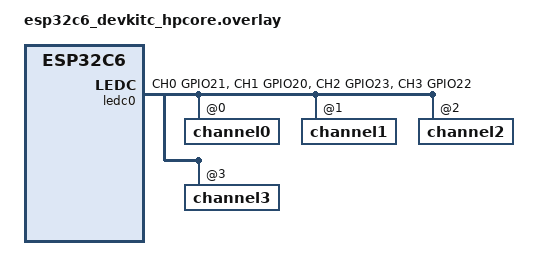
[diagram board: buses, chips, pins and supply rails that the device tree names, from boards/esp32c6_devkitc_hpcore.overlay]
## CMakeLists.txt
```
# SPDX-License-Identifier: Apache-2.0
cmake_minimum_required(VERSION 3.20.0)
find_package(Zephyr REQUIRED HINTS $ENV{ZEPHYR_BASE})
project(actuator_bringup)

target_sources(app PRIVATE src/main.c)
```

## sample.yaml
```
sample:
  name: RiskyBird Actuator Bring-up
  description: Sequentially spin each of the 4 brushed motors briefly at low PWM.
tests:
  sample.riskybird.actuator_bringup:
    platforms:
      - esp32c6_devkitc
    tags: pwm motor actuator
```

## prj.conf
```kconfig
CONFIG_PWM=y
CONFIG_PICOLIBC_IO_FLOAT=n
```

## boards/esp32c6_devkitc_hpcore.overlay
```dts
/*
 * SPDX-License-Identifier: Apache-2.0
 *
 * riskybird v3 motor PWM — low-side brushed FETs Q1-Q4 (SI2302), gate active-high.
 *   M1 = /MOTOR1 = GPIO21 -> LEDC CH0
 *   M2 = /MOTOR2 = GPIO20 -> LEDC CH1
 *   M3 = /MOTOR3 = GPIO23 -> LEDC CH2
 *   M4 = /MOTOR4 = GPIO22 -> LEDC CH3
 *
 * Each gate also connects to the FPGA (JB1) via a parallel 47R; a 10k pulldown
 * holds the FET off until driven. All four channels share LEDC timer 0 (same freq).
 */

&pinctrl {
	ledc0_default: ledc0_default {
		group1 {
			pinmux = <LEDC_CH0_GPIO21>,
				 <LEDC_CH1_GPIO20>,
				 <LEDC_CH2_GPIO23>,
				 <LEDC_CH3_GPIO22>;
			output-enable;
		};
	};
};

&ledc0 {
	status = "okay";
	pinctrl-0 = <&ledc0_default>;
	pinctrl-names = "default";
	#address-cells = <1>;
	#size-cells = <0>;

	channel0@0 {
		reg = <0x0>;
		timer = <0>;
	};
	channel1@1 {
		reg = <0x1>;
		timer = <0>;
	};
	channel2@2 {
		reg = <0x2>;
		timer = <0>;
	};
	channel3@3 {
		reg = <0x3>;
		timer = <0>;
	};
};
```

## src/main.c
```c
/*
 * SPDX-License-Identifier: Apache-2.0
 *
 * riskybird v3 — Actuator (motor) bring-up
 *
 * Spins each of the four brushed motors one at a time, briefly, at a low PWM
 * duty. Motors are low-side N-FET driven (Q1-Q4 = SI2302); PWM the gate
 * (active-high: higher duty = faster).
 *
 *   Motor  Gate net   ESP32-C6 GPIO   LEDC ch
 *   M1     /MOTOR1     GPIO21          CH0
 *   M2     /MOTOR2     GPIO20          CH1
 *   M3     /MOTOR3     GPIO23          CH2
 *   M4     /MOTOR4     GPIO22          CH3
 *
 * SAFETY: run with PROPELLERS REMOVED. Motors run off +BATT, so the board must
 * be battery-powered (or a bench supply on the +BATT input) for them to spin.
 *
 * Tune SPIN_DUTY_PCT if a motor doesn't start (too low) or spins too hard.
 */

#include <zephyr/kernel.h>
#include <zephyr/device.h>
#include <zephyr/drivers/pwm.h>
#include <stdio.h>

#define LEDC_NODE DT_NODELABEL(ledc0)

/* 20 kHz (inaudible); low duty — just enough to spin, NOT flight thrust. */
#define PWM_PERIOD_NS   50000u   /* 20 kHz */
#define SPIN_DUTY_PCT   10u      /* low spin */
#define SPIN_MS         1000u    /* ~1 s per motor */
#define GAP_MS          400u     /* pause between motors */

struct motor {
	const char *name;
	uint32_t channel;
};

static const struct motor motors[] = {
	{ "M1 (GPIO21)", 0 },
	{ "M2 (GPIO20)", 1 },
	{ "M3 (GPIO23)", 2 },
	{ "M4 (GPIO22)", 3 },
};
#define NUM_MOTORS ARRAY_SIZE(motors)

int main(void)
{
	const struct device *pwm = DEVICE_DT_GET(LEDC_NODE);
	const uint32_t pulse_ns =
		(uint32_t)((uint64_t)PWM_PERIOD_NS * SPIN_DUTY_PCT / 100u);
	int ret;

	printf("\nriskybird actuator bring-up (sequential motor spin)\n");
	printf("*** REMOVE PROPELLERS ***  duty=%u%%  freq=%u Hz  %u ms each\n\n",
	       SPIN_DUTY_PCT, 1000000000u / PWM_PERIOD_NS, SPIN_MS);

	if (!device_is_ready(pwm)) {
		printf("ERROR: LEDC PWM device not ready\n");
		return 1;
	}

	/* Force everything off before we begin. */
	for (int i = 0; i < NUM_MOTORS; i++) {
		(void)pwm_set(pwm, motors[i].channel, PWM_PERIOD_NS, 0, 0);
	}
	k_msleep(300);

	/* One pass: spin each motor briefly, in sequence, then stop. */
	for (int i = 0; i < NUM_MOTORS; i++) {
		printf("  %s  ON  (%u%%)\n", motors[i].name, SPIN_DUTY_PCT);
		ret = pwm_set(pwm, motors[i].channel, PWM_PERIOD_NS, pulse_ns, 0);
		if (ret != 0) {
			printf("  ERROR: pwm_set(ch%u) = %d\n",
			       motors[i].channel, ret);
		}
		k_msleep(SPIN_MS);

		/* Always stop this motor before moving to the next. */
		(void)pwm_set(pwm, motors[i].channel, PWM_PERIOD_NS, 0, 0);
		printf("  %s  off\n", motors[i].name);
		k_msleep(GAP_MS);
	}

	printf("\nPass complete — all motors off. Reset the board to run again.\n");
	return 0;
}
```
